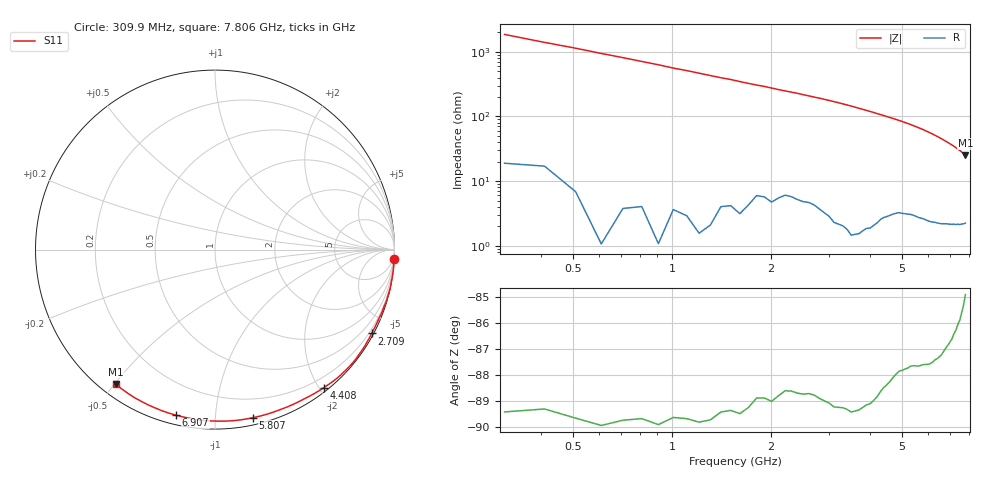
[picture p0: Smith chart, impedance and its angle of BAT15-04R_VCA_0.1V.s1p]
! Infineon Technologies  Discrete & RF Semiconductors
! BAT15-04R
! VCA = 0.1 V
! One-Port S-Parameters
# Hz  S  MA  R  50
!f  S11
!Hz  Mag  Ang
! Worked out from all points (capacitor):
!   76 points, 309.9 MHz to 7.806 GHz, reference 50 ohm
!   read as one part to ground: C = 277 fF near 309.9 MHz
!   lowest |Z| = 25.2 ohm at 7.806 GHz (marker M1)
!   S11 on the Smith chart (normalised r, x): 309.9 MHz: 0, -37; 2.709 GHz: 0.09, -3.99; 4.408 GHz: 0.05, -2.06; 5.807 GHz: 0.05, -1.25; 6.907 GHz: 0.04, -0.79; 7.806 GHz: 0.04, -0.50
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3.0985e8  0.9994 -3.1
9.0955e8  0.9997 -9.1
1.30935e9  0.9989 -13.3
1.6092e9  0.9974 -16.4
2.009e9  0.994 -20.6
2.2089e9  0.9906 -22.7
2.70865e9  0.9899 -28.2
2.90855e9  0.9911 -30.4
3.2084e9  0.9926 -34.1
3.6082e9  0.9931 -39.6
3.90805e9  0.9897 -43.9
4.10795e9  0.9869 -47.0
4.4078e9  0.9794 -51.7
4.70765e9  0.9725 -56.5
5.0075e9  0.9671 -61.7
5.30735e9  0.9631 -67.2
5.6072e9  0.9616 -73.1
5.8071e9  0.9599 -77.3
6.007e9  0.9592 -81.7
6.2069e9  0.9574 -86.2
6.50675e9  0.954 -93.4
6.70665e9  0.9509 -98.3
6.90655e9  0.9479 -103.3
7.10645e9  0.9452 -108.2
7.30635e9  0.9421 -113.4
7.50625e9  0.9389 -118.6
7.70615e9  0.9342 -123.8
7.8061e9  0.9309 -126.5
